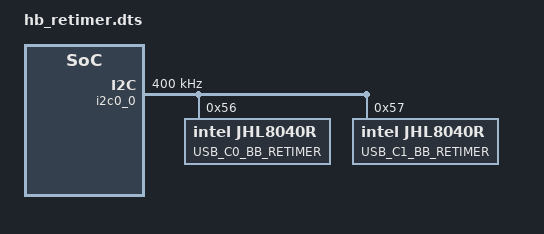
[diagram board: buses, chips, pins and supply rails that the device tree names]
/* Copyright 2022 The Chromium OS Authors. All rights reserved.
 * Use of this source code is governed by a BSD-style license that can be
 * found in the LICENSE file.
 */

&i2c0_0 {
	status = "okay";
	clock-frequency = <I2C_BITRATE_FAST>;
	pinctrl-0 = <&i2c0_0_sda_scl_gpb4_b5>;
	pinctrl-names = "default";

	usb_c0_hb_retimer: jhl8040r@56 {
		compatible = "intel,jhl8040r";
		reg = <0x56>;
		label = "USB_C0_BB_RETIMER";
		reset-pin = <&usb_c0_hb_retimer_rst>;
		ls-en-pin = <&usb_c0_hb_retimer_ls_en>;
	};

	usb_c1_hb_retimer: jhl8040r@57 {
		compatible = "intel,jhl8040r";
		reg = <0x57>;
		label = "USB_C1_BB_RETIMER";
		reset-pin = <&usb_c1_hb_retimer_rst>;
		ls-en-pin = <&usb_c1_hb_retimer_ls_en>;
	};
};
